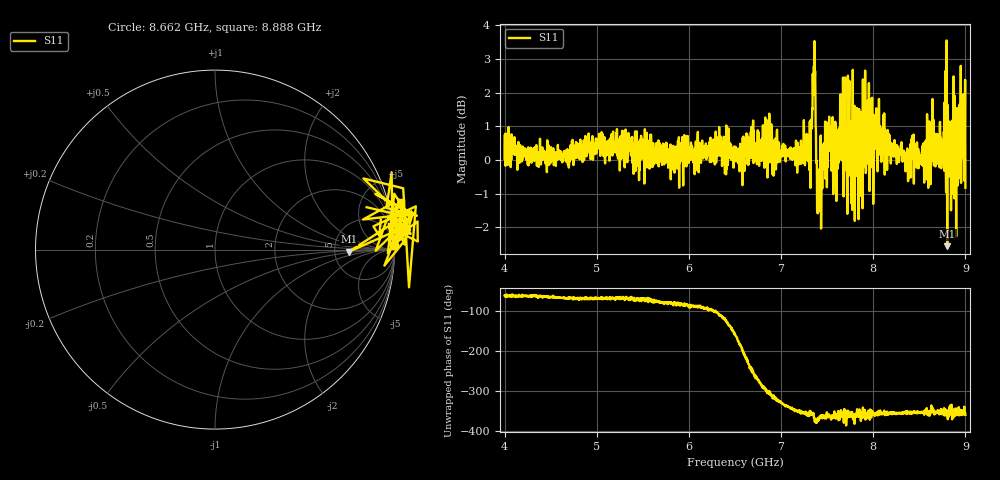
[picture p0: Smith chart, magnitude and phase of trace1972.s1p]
! Created with skrf 1.8.0 (http://scikit-rf.org).
# Hz S RI R 50.0
!freq ReS11 ImS11
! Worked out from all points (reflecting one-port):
!   1601 points, 4 GHz to 9 GHz, reference 50 ohm
!   lowest |S11| = -2.6 dB at 8.803 GHz (marker M1), VSWR 6.85, Z = 341 - j18.8 ohm
!   phase of S11 starts at -60 deg and turns -300 deg over the sweep
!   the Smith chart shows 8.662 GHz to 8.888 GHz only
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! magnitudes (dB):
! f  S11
! 4 GHz  0.0
! 4.625 GHz  -0.1
! 5.25 GHz  -0.3
! 5.875 GHz  0.2
! 6.5 GHz  0.2
! 6.688 GHz  0.2
! 7.125 GHz  0.2
! 7.294 GHz  0.0
! 7.316 GHz  0.6
! 7.347 GHz  1.9
! 7.362 GHz  3.5
! 7.397 GHz  -1.6
! 7.412 GHz  -1.5
! 7.516 GHz  0.3
! 7.591 GHz  0.7
! 7.65 GHz  1.8
! 7.703 GHz  0.6
! 7.75 GHz  -0.3
! 7.784 GHz  0.3
! 7.8 GHz  -1.8
! 7.928 GHz  1.7
! 7.981 GHz  -0.2
! 8.012 GHz  1.1
! 8.375 GHz  0.0
! 8.803 GHz  -2.6
! 8.856 GHz  0.8
! 8.972 GHz  0.6
! 9 GHz  -0.8
